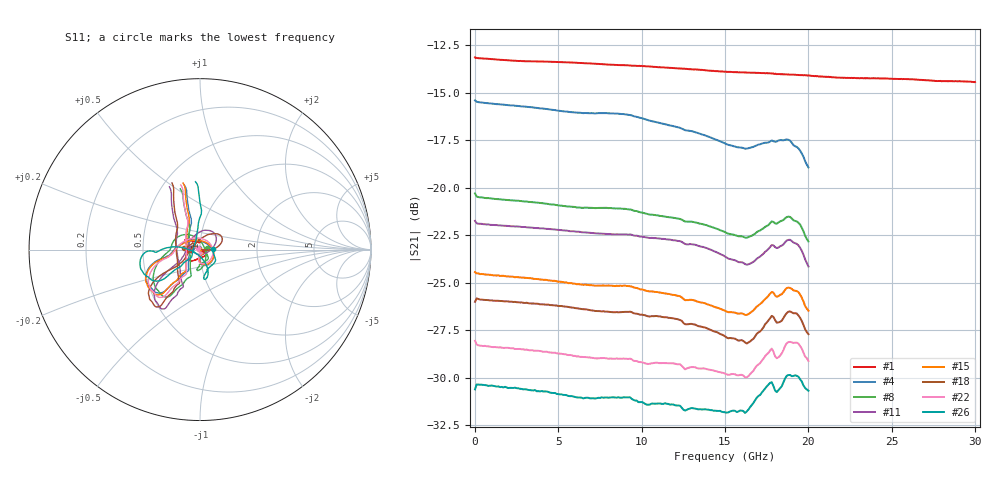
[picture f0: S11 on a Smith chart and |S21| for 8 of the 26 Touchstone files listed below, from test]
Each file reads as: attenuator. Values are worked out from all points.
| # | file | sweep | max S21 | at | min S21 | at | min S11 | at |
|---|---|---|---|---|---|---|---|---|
| 1 | a (7).s2p | 10 MHz to 30 GHz | -13.14 dB | 10 MHz | -14.4 dB | 29.96 GHz | -32.4 dB | 47.5 MHz |
| 2 | a (8).s2p | 10 MHz to 30 GHz | -15.14 dB | 10 MHz | -16.4 dB | 29.96 GHz | -35.8 dB | 28.5 GHz |
| 3 | a (9).s2p | 10 MHz to 30 GHz | -17.22 dB | 10 MHz | -18.7 dB | 29.96 GHz | -41.8 dB | 1.772 GHz |
| 4 | a (28).s2p | 10 MHz to 20.01 GHz | -15.41 dB | 10 MHz | -18.9 dB | 20.01 GHz | -43.0 dB | 310 MHz |
| 5 | a (30).s2p | 10 MHz to 20.01 GHz | -16.43 dB | 110 MHz | -20.0 dB | 20.01 GHz | -42.1 dB | 1.91 GHz |
| 6 | a (32).s2p | 10 MHz to 20.01 GHz | -17.25 dB | 10 MHz | -20.9 dB | 20.01 GHz | -73.5 dB | 5.21 GHz |
| 7 | a (36).s2p | 10 MHz to 20.01 GHz | -19.40 dB | 10 MHz | -21.9 dB | 20.01 GHz | -43.2 dB | 8.01 GHz |
| 8 | a (38).s2p | 10 MHz to 20.01 GHz | -20.30 dB | 10 MHz | -22.8 dB | 20.01 GHz | -31.1 dB | 8.11 GHz |
| 9 | a (39).s2p | 10 MHz to 20.01 GHz | -20.83 dB | 10 MHz | -23.3 dB | 20.01 GHz | -42.9 dB | 110 MHz |
| 10 | a (40).s2p | 10 MHz to 20.01 GHz | -21.32 dB | 10 MHz | -23.7 dB | 20.01 GHz | -35.3 dB | 2.31 GHz |
| 11 | a (41).s2p | 10 MHz to 20.01 GHz | -21.75 dB | 10 MHz | -24.2 dB | 20.01 GHz | -31.1 dB | 5.71 GHz |
| 12 | a (43).s2p | 10 MHz to 20.01 GHz | -22.97 dB | 10 MHz | -25.1 dB | 20.01 GHz | -35.0 dB | 8.71 GHz |
| 13 | a (44).s2p | 10 MHz to 20.01 GHz | -23.44 dB | 10 MHz | -25.6 dB | 16.21 GHz | -37.0 dB | 110 MHz |
| 14 | a (45).s2p | 10 MHz to 20.01 GHz | -23.95 dB | 10 MHz | -26.1 dB | 16.31 GHz | -38.7 dB | 810 MHz |
| 15 | a (46).s2p | 10 MHz to 20.01 GHz | -24.45 dB | 10 MHz | -26.7 dB | 16.21 GHz | -40.7 dB | 510 MHz |
| 16 | a (47).s2p | 10 MHz to 20.01 GHz | -24.88 dB | 10 MHz | -27.2 dB | 16.31 GHz | -46.5 dB | 2.11 GHz |
| 17 | a (48).s2p | 10 MHz to 20.01 GHz | -25.44 dB | 210 MHz | -27.7 dB | 16.31 GHz | -36.6 dB | 5.21 GHz |
| 18 | a (49).s2p | 10 MHz to 20.01 GHz | -25.83 dB | 110 MHz | -28.2 dB | 16.31 GHz | -49.8 dB | 5.31 GHz |
| 19 | a (51).s2p | 10 MHz to 20.01 GHz | -26.65 dB | 10 MHz | -28.4 dB | 16.21 GHz | -44.4 dB | 8.51 GHz |
| 20 | a (52).s2p | 10 MHz to 20.01 GHz | -27.18 dB | 10 MHz | -29.0 dB | 16.31 GHz | -40.7 dB | 110 MHz |
| 21 | a (53).s2p | 10 MHz to 20.01 GHz | -27.64 dB | 18.91 GHz | -29.4 dB | 16.31 GHz | -37.2 dB | 1.01 GHz |
| 22 | a (54).s2p | 10 MHz to 20.01 GHz | -28.07 dB | 10 MHz | -30.0 dB | 16.21 GHz | -38.3 dB | 710 MHz |
| 23 | a (55).s2p | 10 MHz to 20.01 GHz | -28.46 dB | 18.91 GHz | -30.4 dB | 16.21 GHz | -46.2 dB | 2.51 GHz |
| 24 | a (56).s2p | 10 MHz to 20.01 GHz | -28.90 dB | 18.91 GHz | -31.0 dB | 16.31 GHz | -37.1 dB | 5.41 GHz |
| 25 | a (57).s2p | 10 MHz to 20.01 GHz | -29.23 dB | 19.21 GHz | -31.4 dB | 16.31 GHz | -46.4 dB | 5.41 GHz |
| 26 | a (58).s2p | 10 MHz to 20.01 GHz | -29.86 dB | 18.81 GHz | -31.9 dB | 16.21 GHz | -30.0 dB | 8.71 GHz |
